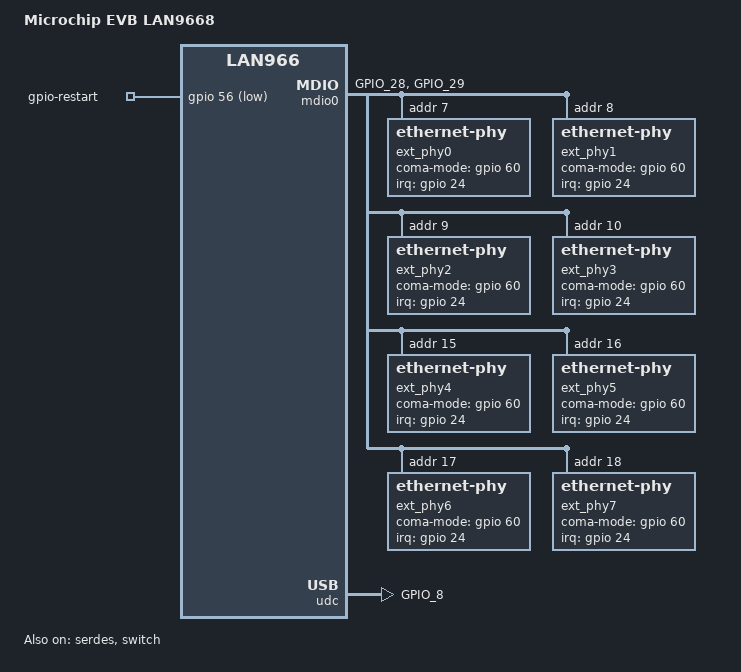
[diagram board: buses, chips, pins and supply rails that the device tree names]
// SPDX-License-Identifier: (GPL-2.0+ OR MIT)
/*
 * lan966x-pcb8290.dts - Device Tree file for LAN966X-PCB8290 board
 *
 * Copyright (C) 2022 Microchip Technology Inc. and its subsidiaries
 *
 * Author: Horatiu Vultur <horatiu.vultur@microchip.com>
 */
/dts-v1/;
#include "lan966x.dtsi"
#include "dt-bindings/phy/phy-lan966x-serdes.h"

/ {
	model = "Microchip EVB LAN9668";
	compatible = "microchip,lan9668-pcb8290", "microchip,lan9668", "microchip,lan966";

	gpio-restart {
		compatible = "gpio-restart";
		gpios = <&gpio 56 GPIO_ACTIVE_LOW>;
		priority = <200>;
	};
};

&aes {
	status = "disabled"; /* Reserved by secure OS */
};

&gpio {
	miim_a_pins: mdio-pins {
		/* MDC, MDIO */
		pins =  "GPIO_28", "GPIO_29";
		function = "miim_a";
	};

	pps_out_pins: pps-out-pins {
		/* 1pps output */
		pins = "GPIO_38";
		function = "ptpsync_3";
	};

	ptp_ext_pins: ptp-ext-pins {
		/* 1pps input */
		pins = "GPIO_35";
		function = "ptpsync_0";
	};

	udc_pins: ucd-pins {
		/* VBUS_DET B */
		pins = "GPIO_8";
		function = "usb_slave_b";
	};
};

&mdio0 {
	pinctrl-0 = <&miim_a_pins>;
	pinctrl-names = "default";
	status = "okay";

	ext_phy0: ethernet-phy@7 {
		reg = <7>;
		interrupts = <24 IRQ_TYPE_LEVEL_LOW>;
		interrupt-parent = <&gpio>;
		coma-mode-gpios = <&gpio 60 GPIO_OPEN_DRAIN>;
	};

	ext_phy1: ethernet-phy@8 {
		reg = <8>;
		interrupts = <24 IRQ_TYPE_LEVEL_LOW>;
		interrupt-parent = <&gpio>;
		coma-mode-gpios = <&gpio 60 GPIO_OPEN_DRAIN>;
	};

	ext_phy2: ethernet-phy@9 {
		reg = <9>;
		interrupts = <24 IRQ_TYPE_LEVEL_LOW>;
		interrupt-parent = <&gpio>;
		coma-mode-gpios = <&gpio 60 GPIO_OPEN_DRAIN>;
	};

	ext_phy3: ethernet-phy@10 {
		reg = <10>;
		interrupts = <24 IRQ_TYPE_LEVEL_LOW>;
		interrupt-parent = <&gpio>;
		coma-mode-gpios = <&gpio 60 GPIO_OPEN_DRAIN>;
	};

	ext_phy4: ethernet-phy@15 {
		reg = <15>;
		interrupts = <24 IRQ_TYPE_LEVEL_LOW>;
		interrupt-parent = <&gpio>;
		coma-mode-gpios = <&gpio 60 GPIO_OPEN_DRAIN>;
	};

	ext_phy5: ethernet-phy@16 {
		reg = <16>;
		interrupts = <24 IRQ_TYPE_LEVEL_LOW>;
		interrupt-parent = <&gpio>;
		coma-mode-gpios = <&gpio 60 GPIO_OPEN_DRAIN>;
	};

	ext_phy6: ethernet-phy@17 {
		reg = <17>;
		interrupts = <24 IRQ_TYPE_LEVEL_LOW>;
		interrupt-parent = <&gpio>;
		coma-mode-gpios = <&gpio 60 GPIO_OPEN_DRAIN>;
	};

	ext_phy7: ethernet-phy@18 {
		reg = <18>;
		interrupts = <24 IRQ_TYPE_LEVEL_LOW>;
		interrupt-parent = <&gpio>;
		coma-mode-gpios = <&gpio 60 GPIO_OPEN_DRAIN>;
	};
};

&port0 {
	reg = <2>;
	phy-handle = <&ext_phy2>;
	phy-mode = "qsgmii";
	phys = <&serdes 0 SERDES6G(1)>;
	status = "okay";
};

&port1 {
	reg = <3>;
	phy-handle = <&ext_phy3>;
	phy-mode = "qsgmii";
	phys = <&serdes 1 SERDES6G(1)>;
	status = "okay";
};

&port2 {
	reg = <0>;
	phy-handle = <&ext_phy0>;
	phy-mode = "qsgmii";
	phys = <&serdes 2 SERDES6G(1)>;
	status = "okay";
};

&port3 {
	reg = <1>;
	phy-handle = <&ext_phy1>;
	phy-mode = "qsgmii";
	phys = <&serdes 3 SERDES6G(1)>;
	status = "okay";
};

&port4 {
	reg = <6>;
	phy-handle = <&ext_phy6>;
	phy-mode = "qsgmii";
	phys = <&serdes 4 SERDES6G(2)>;
	status = "okay";
};

&port5 {
	reg = <7>;
	phy-handle = <&ext_phy7>;
	phy-mode = "qsgmii";
	phys = <&serdes 5 SERDES6G(2)>;
	status = "okay";
};

&port6 {
	reg = <4>;
	phy-handle = <&ext_phy4>;
	phy-mode = "qsgmii";
	phys = <&serdes 6 SERDES6G(2)>;
	status = "okay";
};

&port7 {
	reg = <5>;
	phy-handle = <&ext_phy5>;
	phy-mode = "qsgmii";
	phys = <&serdes 7 SERDES6G(2)>;
	status = "okay";
};

&serdes {
	status = "okay";
};

&switch {
	pinctrl-0 = <&pps_out_pins>, <&ptp_ext_pins>;
	pinctrl-names = "default";
	status = "okay";
};

&udc {
	pinctrl-0 = <&udc_pins>;
	pinctrl-names = "default";
	atmel,vbus-gpio = <&gpio 8 GPIO_ACTIVE_HIGH>;
	status = "okay";
};
